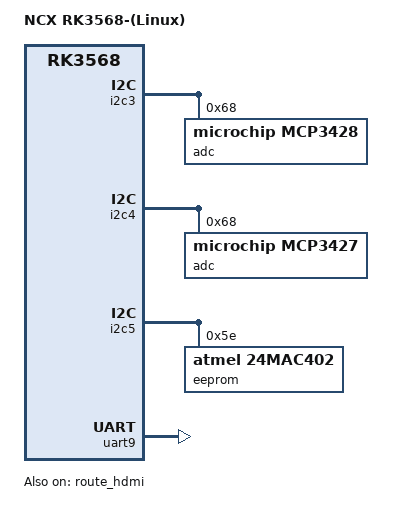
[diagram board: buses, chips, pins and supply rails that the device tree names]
// SPDX-License-Identifier: (GPL-2.0+ OR MIT)
/*
 * Copyright (c) 2020 Rockchip Electronics Co., Ltd.
 *
 */

/dts-v1/;

#include "rk3568-ncx.dtsi"

/ {
    model = "NCX RK3568-(Linux)";
    compatible = "rockchip,rk3568-ncx", "rockchip,rk3568";

};

&route_hdmi {
    status = "okay";
    connect = <&vp0_out_hdmi>;
};


&i2c3 {
        status = "okay";

        adc@0 {
                compatible = "microchip,mcp3428";
                reg = <0x68>;
        };
};




&i2c4 {
        status = "okay";

        adc@1 {
                compatible = "microchip,mcp3427";
                reg = <0x68>;
        };
};




&i2c5 {
	status = "okay";
	
	eeprom@5e {
		compatible = "atmel,24mac402";
		reg = <0x5e>;
		status = "okay";
	};
};

&uart9 {
	status = "okay";
};

&uart8 {
	status = "disabled";
};
